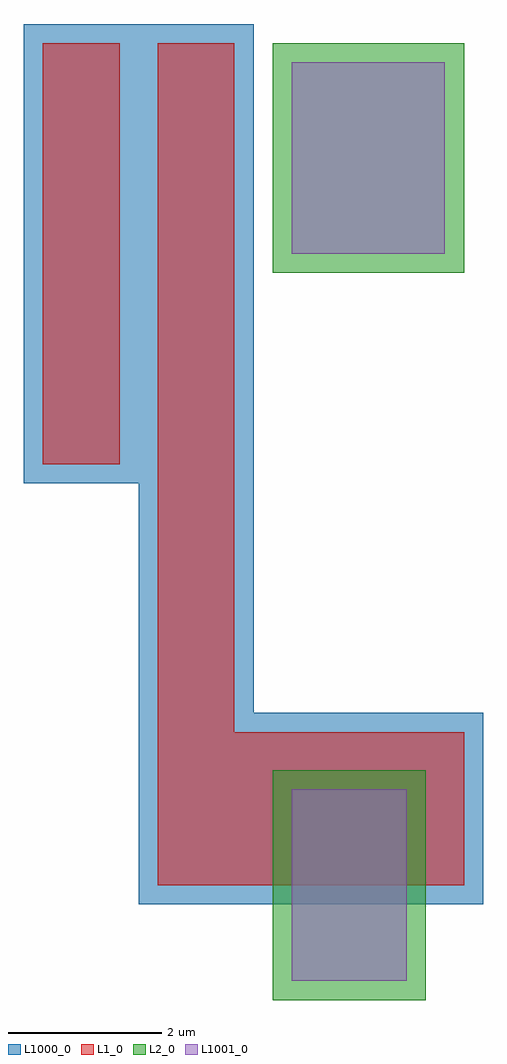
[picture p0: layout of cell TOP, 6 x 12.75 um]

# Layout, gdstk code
import gdstk
lib = gdstk.Library(unit=1e-6, precision=1e-09)
def R(c, l, rs):  # rectangles x0, y0, x1, y1
    for r in rs: c.add(gdstk.rectangle(r[:2], r[2:], *l))
def P(c, l, *ps):  # polygons
    for p in ps: c.add(gdstk.Polygon(p, *l))
L1_0 = (1, 0)
L2_0 = (2, 0)
L1000_0 = (1000, 0)
L1001_0 = (1001, 0)

part = lib.new_cell('PART')
R(part, L1_0, [(0,0,1,5.5)])

top = lib.new_cell('TOP')
R(top, L1_0, [(1,-5.5,4,-3.5)])
R(top, L2_0, [(1.5,-7,3.5,-4), (1.5,2.5,4,5.5)])
R(top, L1000_0, [(-1.75,-0.25,-0.25,5.75)])
P(top, L1000_0, [(-0.25,-5.75),(-0.25,5.75),(1.25,5.75),(1.25,-3.25),(4.25,-3.25),(4.25,-5.75)])
R(top, L1001_0, [(1.75,-6.75,3.25,-4.25), (1.75,2.75,3.75,5.25)])
top.add(gdstk.Reference(part, (0,0)))
top.add(gdstk.Reference(part, (0,-5.5)))
top.add(gdstk.Reference(part, (-1.5,0)))

lib.write_gds('TOP.gds')
